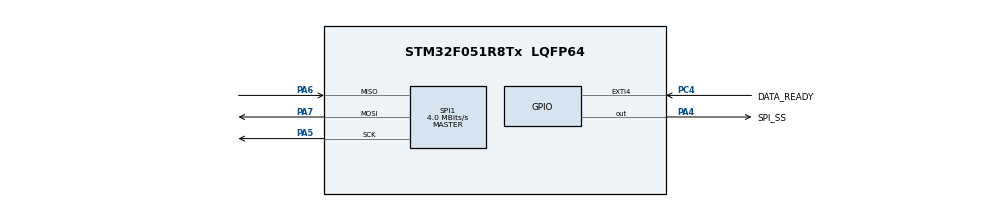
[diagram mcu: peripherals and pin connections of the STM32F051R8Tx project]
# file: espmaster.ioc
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Mcu.Family=STM32F0
Mcu.Name=STM32F051R8Tx
Mcu.Package=LQFP64
NVIC.EXTI4_15_IRQn=true\:0\:0\:false\:false\:true\:true
NVIC.SPI1_IRQn=true\:0\:0\:false\:false\:true\:true
PA4.GPIO_Label=SPI_SS
PA4.Signal=GPIO_Output
PA5.Mode=Full_Duplex_Master
PA5.Signal=SPI1_SCK
PA6.Mode=Full_Duplex_Master
PA6.Signal=SPI1_MISO
PA7.Mode=Full_Duplex_Master
PA7.Signal=SPI1_MOSI
PC4.GPIO_Label=DATA_READY
PC4.Signal=GPXTI4
ProjectManager.HeapSize=0x200
ProjectManager.StackSize=0x400
ProjectManager.TargetToolchain=SW4STM32
SPI1.CalculateBaudRate=4.0 MBits/s
SPI1.DataSize=SPI_DATASIZE_8BIT
SPI1.Direction=SPI_DIRECTION_2LINES
SPI1.Mode=SPI_MODE_MASTER
SPI1.VirtualType=VM_MASTER
board=custom

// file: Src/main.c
/**
  ******************************************************************************
  * @file           : main.c
  * @brief          : Main program body
  ******************************************************************************
  ** This notice applies to any and all portions of this file
  * that are not between comment pairs USER CODE BEGIN and
  * USER CODE END. Other portions of this file, whether
  * inserted by the user or by software development tools
  * are owned by their respective copyright owners.
  *
  * COPYRIGHT(c) 2018 STMicroelectronics
  *
  * Redistribution and use in source and binary forms, with or without modification,
  * are permitted provided that the following conditions are met:
  *   1. Redistributions of source code must retain the above copyright notice,
  *      this list of conditions and the following disclaimer.
  *   2. Redistributions in binary form must reproduce the above copyright notice,
  *      this list of conditions and the following disclaimer in the documentation
  *      and/or other materials provided with the distribution.
  *   3. Neither the name of STMicroelectronics nor the names of its contributors
  *      may be used to endorse or promote products derived from this software
  *      without specific prior written permission.
  *
  * THIS SOFTWARE IS PROVIDED BY THE COPYRIGHT HOLDERS AND CONTRIBUTORS "AS IS"
  * AND ANY EXPRESS OR IMPLIED WARRANTIES, INCLUDING, BUT NOT LIMITED TO, THE
  * IMPLIED WARRANTIES OF MERCHANTABILITY AND FITNESS FOR A PARTICULAR PURPOSE ARE
  * DISCLAIMED. IN NO EVENT SHALL THE COPYRIGHT HOLDER OR CONTRIBUTORS BE LIABLE
  * FOR ANY DIRECT, INDIRECT, INCIDENTAL, SPECIAL, EXEMPLARY, OR CONSEQUENTIAL
  * DAMAGES (INCLUDING, BUT NOT LIMITED TO, PROCUREMENT OF SUBSTITUTE GOODS OR
  * SERVICES; LOSS OF USE, DATA, OR PROFITS; OR BUSINESS INTERRUPTION) HOWEVER
  * CAUSED AND ON ANY THEORY OF LIABILITY, WHETHER IN CONTRACT, STRICT LIABILITY,
  * OR TORT (INCLUDING NEGLIGENCE OR OTHERWISE) ARISING IN ANY WAY OUT OF THE USE
  * OF THIS SOFTWARE, EVEN IF ADVISED OF THE POSSIBILITY OF SUCH DAMAGE.
  *
  ******************************************************************************
  */
#include "main.h"
#include "stm32f0xx_hal.h"
#include "spi.h"
#include "gpio.h"

/* USER CODE BEGIN Includes */
#include "wireless.h"
/* USER CODE END Includes */

/* USER CODE BEGIN PV */
/* Private variables ---------------------------------------------------------*/

/* USER CODE END PV */

void SystemClock_Config(void);

/* USER CODE BEGIN PFP */
/* Private function prototypes -----------------------------------------------*/

/* USER CODE END PFP */

/* USER CODE BEGIN 0 */

uint8_t counter = 0;

void fillDummyAckData(roboAckData* preparedAckData) {
	preparedAckData->roboID = 5;
	preparedAckData->wheelLeftFront = 1;
	preparedAckData->wheelLeftFront = 1;
	preparedAckData->wheelRightFront = 1;
	preparedAckData->wheelLeftBack = 1;
	preparedAckData->wheelRightBack = 1;
	preparedAckData->genevaDriveState = 1;
	preparedAckData->batteryState = 1;
	preparedAckData->xPosRobot = counter;
	preparedAckData->yPosRobot = counter;
	preparedAckData->rho = counter;
	preparedAckData->theta = counter;
	preparedAckData->orientation = counter;
	preparedAckData->angularVelocity = counter;
	preparedAckData->ballSensor = counter;

	counter++;
	if(counter>10000)
		counter = 1;
	//extra fields (add 12 Bytes)
	preparedAckData->xAcceleration = counter;
	preparedAckData->yAcceleration = counter;
	preparedAckData->angularRate = counter;

}

/* USER CODE END 0 */

int main(void)
{

  /* MCU Configuration----------------------------------------------------------*/

  /* Reset of all peripherals, Initializes the Flash interface and the Systick. */
  HAL_Init();

  /* Configure the system clock */
  SystemClock_Config();

  /* Initialize all configured peripherals */
  MX_GPIO_Init();
  MX_SPI1_Init();
  /* USER CODE BEGIN 2 */

  //Note: If the ESP is booting at a moment when the SPI Master has the Select line HIGH (deselected)
  //the ESP8266 WILL FAIL to boot!
  HAL_GPIO_WritePin(SPI_SS_GPIO_Port, SPI_SS_Pin, GPIO_PIN_RESET);

  HAL_Delay(1000);

  Wireless_Init("ZiggoC1A1B85", "Fietspomp1", "192.168.178.199", 5);

  HAL_Delay(10000);
  //while (HAL_GPIO_ReadPin(DATA_READY_GPIO_Port, DATA_READY_Pin) == GPIO_PIN_RESET) {
	//  HAL_Delay(1);
  //}

  /* USER CODE END 2 */

  /* Infinite loop */
  /* USER CODE BEGIN WHILE */
  while (1)
  {
	  Wireless_Check();
	  roboAckData data;
	  fillDummyAckData(&data);
	  Wireless_Send(&data);
	  HAL_Delay(16);

  /* USER CODE END WHILE */

  }

}

void SystemClock_Config(void)
{

  RCC_OscInitTypeDef RCC_OscInitStruct;
  RCC_ClkInitTypeDef RCC_ClkInitStruct;

    /**Initializes the CPU, AHB and APB busses clocks
    */
  RCC_OscInitStruct.OscillatorType = RCC_OSCILLATORTYPE_HSI;
  RCC_OscInitStruct.HSIState = RCC_HSI_ON;
  RCC_OscInitStruct.HSICalibrationValue = 16;
  RCC_OscInitStruct.PLL.PLLState = RCC_PLL_NONE;
  if (HAL_RCC_OscConfig(&RCC_OscInitStruct) != HAL_OK)
  {
    _Error_Handler(__FILE__, __LINE__);
  }

    /**Initializes the CPU, AHB and APB busses clocks
    */
  RCC_ClkInitStruct.ClockType = RCC_CLOCKTYPE_HCLK|RCC_CLOCKTYPE_SYSCLK
                              |RCC_CLOCKTYPE_PCLK1;
  RCC_ClkInitStruct.SYSCLKSource = RCC_SYSCLKSOURCE_HSI;
  RCC_ClkInitStruct.AHBCLKDivider = RCC_SYSCLK_DIV1;
  RCC_ClkInitStruct.APB1CLKDivider = RCC_HCLK_DIV1;

  if (HAL_RCC_ClockConfig(&RCC_ClkInitStruct, FLASH_LATENCY_0) != HAL_OK)
  {
    _Error_Handler(__FILE__, __LINE__);
  }

    /**Configure the Systick interrupt time
    */
  HAL_SYSTICK_Config(HAL_RCC_GetHCLKFreq()/1000);

    /**Configure the Systick
    */
  HAL_SYSTICK_CLKSourceConfig(SYSTICK_CLKSOURCE_HCLK);

  /* SysTick_IRQn interrupt configuration */
  HAL_NVIC_SetPriority(SysTick_IRQn, 0, 0);
}

void _Error_Handler(char *file, int line)
{
  while(1)
  {
  }
}

/************************ (C) COPYRIGHT STMicroelectronics *****END OF FILE****/
